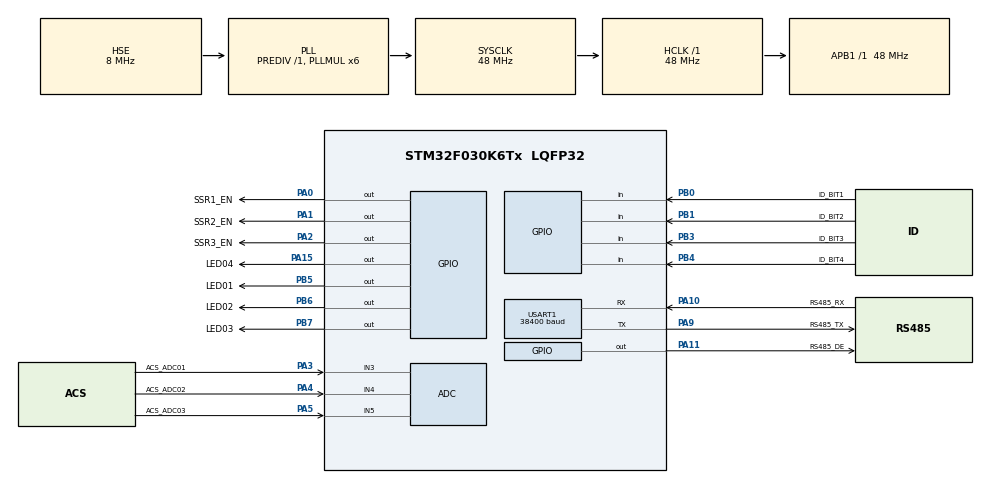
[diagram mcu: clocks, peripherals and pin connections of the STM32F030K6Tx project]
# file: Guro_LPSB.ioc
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Mcu.Family=STM32F0
Mcu.Name=STM32F030K6Tx
Mcu.Package=LQFP32
NVIC.USART1_IRQn=true\:0\:0\:false\:false\:true\:true\:true\:true
PA0.GPIO_Label=SSR1_EN 
PA0.Signal=GPIO_Output
PA1.GPIO_Label=SSR2_EN 
PA1.Signal=GPIO_Output
PA10.GPIO_Label=RS485_RX
PA10.Mode=Asynchronous
PA10.Signal=USART1_RX
PA11.GPIO_Label=RS485_DE
PA11.GPIO_PuPd=GPIO_PULLDOWN
PA11.GPIO_Speed=GPIO_SPEED_FREQ_HIGH
PA11.Signal=GPIO_Output
PA13.Mode=Serial_Wire
PA13.Signal=SYS_SWDIO
PA14.Mode=Serial_Wire
PA14.Signal=SYS_SWCLK
PA15.GPIO_Label=LED04 
PA15.Signal=GPIO_Output
PA2.GPIO_Label=SSR3_EN 
PA2.Signal=GPIO_Output
PA3.GPIO_Label=ACS_ADC01 
PA3.Mode=IN3
PA3.Signal=ADC_IN3
PA4.GPIO_Label=ACS_ADC02 
PA4.Mode=IN4
PA4.Signal=ADC_IN4
PA5.GPIO_Label=ACS_ADC03 
PA5.Mode=IN5
PA5.Signal=ADC_IN5
PA9.GPIO_Label=RS485_TX
PA9.Mode=Asynchronous
PA9.Signal=USART1_TX
PB0.GPIO_Label=ID_BIT1 
PB0.Signal=GPIO_Input
PB1.GPIO_Label=ID_BIT2 
PB1.Signal=GPIO_Input
PB3.GPIO_Label=ID_BIT3 
PB3.Signal=GPIO_Input
PB4.GPIO_Label=ID_BIT4 
PB4.Signal=GPIO_Input
PB5.GPIO_Label=LED01 
PB5.Signal=GPIO_Output
PB6.GPIO_Label=LED02
PB6.Signal=GPIO_Output
PB7.GPIO_Label=LED03 
PB7.Signal=GPIO_Output
PF0-OSC_IN.Mode=HSE-External-Oscillator
PF0-OSC_IN.Signal=RCC_OSC_IN
PF1-OSC_OUT.Mode=HSE-External-Oscillator
PF1-OSC_OUT.Signal=RCC_OSC_OUT
ProjectManager.HeapSize=0x200
ProjectManager.StackSize=0x400
ProjectManager.TargetToolchain=STM32CubeIDE
RCC.AHBFreq_Value=48000000
RCC.APB1Freq_Value=48000000
RCC.APB1TimFreq_Value=48000000
RCC.HCLKFreq_Value=48000000
RCC.PLLMUL=RCC_PLL_MUL6
RCC.PLLSourceVirtual=RCC_PLLSOURCE_HSE
RCC.SYSCLKFreq_VALUE=48000000
RCC.SYSCLKSource=RCC_SYSCLKSOURCE_PLLCLK
USART1.BaudRate=38400
USART1.VirtualMode-Asynchronous=VM_ASYNC
board=custom

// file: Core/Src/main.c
/* USER CODE BEGIN Header */
/**
  ******************************************************************************
  * @file           : main.c
  * @brief          : Main program body
  ******************************************************************************
  * @attention
  *
  * Copyright (c) 2026 STMicroelectronics.
  * All rights reserved.
  *
  * This software is licensed under terms that can be found in the LICENSE file
  * in the root directory of this software component.
  * If no LICENSE file comes with this software, it is provided AS-IS.
  *
  ******************************************************************************
  */
/* USER CODE END Header */
#include "main.h"

/* USER CODE BEGIN Includes */
#include "rs485_drv.h"
#include "lpsb_app.h"
#include "adc_app.h"
#include "modbus_slave.h"
#include "acs712_rms.h"
/* USER CODE END Includes */

ADC_HandleTypeDef hadc;

UART_HandleTypeDef huart1;

/* USER CODE BEGIN PV */
static ACS712_RmsState s_rms;
/* USER CODE END PV */

void SystemClock_Config(void);
static void MX_GPIO_Init(void);
static void MX_USART1_UART_Init(void);
static void MX_ADC_Init(void);

int main(void)
{

  /* MCU Configuration--------------------------------------------------------*/

  /* Reset of all peripherals, Initializes the Flash interface and the Systick. */
  HAL_Init();

  /* Configure the system clock */
  SystemClock_Config();

  /* Initialize all configured peripherals */
  MX_GPIO_Init();
  MX_USART1_UART_Init();
  MX_ADC_Init();
  /* USER CODE BEGIN 2 */
  if (HAL_ADCEx_Calibration_Start(&hadc) != HAL_OK)
  {
    Error_Handler();
  }
  LPSB_App_Init();
  LPSB_LED_Sequence();
  Modbus_Init();

  /* Start RMS measurement on ADC3 channel (ADC_CH5 = PA5 = ACS_ADC03).
   * NOTE: While RMS DMA sampling is active, do not use adc_app polling reads concurrently.
   */
  if (ACS712_RMS_Start(&hadc, ADC_CHANNEL_5) != HAL_OK)
  {
    Error_Handler();
  }
  /* USER CODE END 2 */

  /* Infinite loop */
  while (1)
  {

    /* USER CODE BEGIN 3 */
    Modbus_Poll();
    /* Keep existing ADC update disabled while DMA RMS sampling is active to avoid ADC conflicts. */
    LPSB_Heartbeat();
    /* LED4: RS485 activity pulse + 무통신 시 2s 주기 idle blink */
    RS485_ActivityTick();

    /* ADC DMA poll: update Modbus register map on each new half/full block. */
    if (ACS712_RMS_Poll(&s_rms))
    {
      LPSB_ADC_SetStoredAvg(0, s_rms.last_avg_adc_ch[0]);
      LPSB_ADC_SetStoredAvg(1, s_rms.last_avg_adc_ch[1]);
      LPSB_ADC_SetStoredAvg(2, s_rms.last_avg_adc_ch[2]);
      LPSB_ADC_SetStoredPkpk(0, s_rms.last_pkpk_adc_ch[0]);
      LPSB_ADC_SetStoredPkpk(1, s_rms.last_pkpk_adc_ch[1]);
      LPSB_ADC_SetStoredPkpk(2, s_rms.last_pkpk_adc_ch[2]);
    }
  }
  /* USER CODE END 3 */
}

void SystemClock_Config(void)
{
  RCC_OscInitTypeDef RCC_OscInitStruct = {0};
  RCC_ClkInitTypeDef RCC_ClkInitStruct = {0};
  RCC_PeriphCLKInitTypeDef PeriphClkInit = {0};

  /** Initializes the RCC Oscillators according to the specified parameters
  * in the RCC_OscInitTypeDef structure.
  */
  RCC_OscInitStruct.OscillatorType = RCC_OSCILLATORTYPE_HSI14|RCC_OSCILLATORTYPE_HSE;
  RCC_OscInitStruct.HSEState = RCC_HSE_ON;
  RCC_OscInitStruct.HSI14State = RCC_HSI14_ON;
  RCC_OscInitStruct.HSI14CalibrationValue = 16;
  RCC_OscInitStruct.PLL.PLLState = RCC_PLL_ON;
  RCC_OscInitStruct.PLL.PLLSource = RCC_PLLSOURCE_HSE;
  RCC_OscInitStruct.PLL.PLLMUL = RCC_PLL_MUL6;
  RCC_OscInitStruct.PLL.PREDIV = RCC_PREDIV_DIV1;
  if (HAL_RCC_OscConfig(&RCC_OscInitStruct) != HAL_OK)
  {
    Error_Handler();
  }

  /** Initializes the CPU, AHB and APB buses clocks
  */
  RCC_ClkInitStruct.ClockType = RCC_CLOCKTYPE_HCLK|RCC_CLOCKTYPE_SYSCLK
                              |RCC_CLOCKTYPE_PCLK1;
  RCC_ClkInitStruct.SYSCLKSource = RCC_SYSCLKSOURCE_PLLCLK;
  RCC_ClkInitStruct.AHBCLKDivider = RCC_SYSCLK_DIV1;
  RCC_ClkInitStruct.APB1CLKDivider = RCC_HCLK_DIV1;

  if (HAL_RCC_ClockConfig(&RCC_ClkInitStruct, FLASH_LATENCY_1) != HAL_OK)
  {
    Error_Handler();
  }
  PeriphClkInit.PeriphClockSelection = RCC_PERIPHCLK_USART1;
  PeriphClkInit.Usart1ClockSelection = RCC_USART1CLKSOURCE_PCLK1;
  if (HAL_RCCEx_PeriphCLKConfig(&PeriphClkInit) != HAL_OK)
  {
    Error_Handler();
  }
}

static void MX_ADC_Init(void)
{

  ADC_ChannelConfTypeDef sConfig = {0};

  /** Configure the global features of the ADC (Clock, Resolution, Data Alignment and number of conversion)
  */
  hadc.Instance = ADC1;
  hadc.Init.ClockPrescaler = ADC_CLOCK_ASYNC_DIV1;
  hadc.Init.Resolution = ADC_RESOLUTION_12B;
  hadc.Init.DataAlign = ADC_DATAALIGN_RIGHT;
  hadc.Init.ScanConvMode = ADC_SCAN_DIRECTION_FORWARD;
  hadc.Init.EOCSelection = ADC_EOC_SINGLE_CONV;
  hadc.Init.LowPowerAutoWait = DISABLE;
  hadc.Init.LowPowerAutoPowerOff = DISABLE;
  hadc.Init.ContinuousConvMode = DISABLE;
  hadc.Init.DiscontinuousConvMode = DISABLE;
  hadc.Init.ExternalTrigConv = ADC_SOFTWARE_START;
  hadc.Init.ExternalTrigConvEdge = ADC_EXTERNALTRIGCONVEDGE_NONE;
  hadc.Init.DMAContinuousRequests = DISABLE;
  hadc.Init.Overrun = ADC_OVR_DATA_PRESERVED;
  if (HAL_ADC_Init(&hadc) != HAL_OK)
  {
    Error_Handler();
  }

  /** Configure for the selected ADC regular channel to be converted.
  */
  sConfig.Channel = ADC_CHANNEL_3;
  sConfig.Rank = ADC_RANK_CHANNEL_NUMBER;
  sConfig.SamplingTime = ADC_SAMPLETIME_1CYCLE_5;
  if (HAL_ADC_ConfigChannel(&hadc, &sConfig) != HAL_OK)
  {
    Error_Handler();
  }

  /** Configure for the selected ADC regular channel to be converted.
  */
  sConfig.Channel = ADC_CHANNEL_4;
  if (HAL_ADC_ConfigChannel(&hadc, &sConfig) != HAL_OK)
  {
    Error_Handler();
  }

  /** Configure for the selected ADC regular channel to be converted.
  */
  sConfig.Channel = ADC_CHANNEL_5;
  if (HAL_ADC_ConfigChannel(&hadc, &sConfig) != HAL_OK)
  {
    Error_Handler();
  }

}

static void MX_USART1_UART_Init(void)
{

  huart1.Instance = USART1;
  huart1.Init.BaudRate = 38400;
  huart1.Init.WordLength = UART_WORDLENGTH_8B;
  huart1.Init.StopBits = UART_STOPBITS_1;
  huart1.Init.Parity = UART_PARITY_NONE;
  huart1.Init.Mode = UART_MODE_TX_RX;
  huart1.Init.HwFlowCtl = UART_HWCONTROL_NONE;
  huart1.Init.OverSampling = UART_OVERSAMPLING_16;
  huart1.Init.OneBitSampling = UART_ONE_BIT_SAMPLE_DISABLE;
  huart1.AdvancedInit.AdvFeatureInit = UART_ADVFEATURE_NO_INIT;
  if (HAL_UART_Init(&huart1) != HAL_OK)
  {
    Error_Handler();
  }

}

static void MX_GPIO_Init(void)
{
  GPIO_InitTypeDef GPIO_InitStruct = {0};

  /* GPIO Ports Clock Enable */
  __HAL_RCC_GPIOF_CLK_ENABLE();
  __HAL_RCC_GPIOA_CLK_ENABLE();
  __HAL_RCC_GPIOB_CLK_ENABLE();

  /*Configure GPIO pin Output Level */
  HAL_GPIO_WritePin(GPIOA, SSR1_EN_Pin|SSR2_EN_Pin|SSR3_EN_Pin|RS485_DE_Pin
                          |LED04_Pin, GPIO_PIN_RESET);

  /*Configure GPIO pin Output Level */
  HAL_GPIO_WritePin(GPIOB, LED01_Pin|LED02_Pin|LED03_Pin, GPIO_PIN_RESET);

  /*Configure GPIO pins : SSR1_EN_Pin SSR2_EN_Pin SSR3_EN_Pin LED04_Pin */
  GPIO_InitStruct.Pin = SSR1_EN_Pin|SSR2_EN_Pin|SSR3_EN_Pin|LED04_Pin;
  GPIO_InitStruct.Mode = GPIO_MODE_OUTPUT_PP;
  GPIO_InitStruct.Pull = GPIO_NOPULL;
  GPIO_InitStruct.Speed = GPIO_SPEED_FREQ_LOW;
  HAL_GPIO_Init(GPIOA, &GPIO_InitStruct);

  /*Configure GPIO pins : ID_BIT1_Pin ID_BIT2_Pin ID_BIT3_Pin ID_BIT4_Pin */
  GPIO_InitStruct.Pin = ID_BIT1_Pin|ID_BIT2_Pin|ID_BIT3_Pin|ID_BIT4_Pin;
  GPIO_InitStruct.Mode = GPIO_MODE_INPUT;
  GPIO_InitStruct.Pull = GPIO_NOPULL;
  HAL_GPIO_Init(GPIOB, &GPIO_InitStruct);

  /*Configure GPIO pin : RS485_DE_Pin */
  GPIO_InitStruct.Pin = RS485_DE_Pin;
  GPIO_InitStruct.Mode = GPIO_MODE_OUTPUT_PP;
  GPIO_InitStruct.Pull = GPIO_PULLDOWN;
  GPIO_InitStruct.Speed = GPIO_SPEED_FREQ_HIGH;
  HAL_GPIO_Init(RS485_DE_GPIO_Port, &GPIO_InitStruct);

  /*Configure GPIO pins : LED01_Pin LED02_Pin LED03_Pin */
  GPIO_InitStruct.Pin = LED01_Pin|LED02_Pin|LED03_Pin;
  GPIO_InitStruct.Mode = GPIO_MODE_OUTPUT_PP;
  GPIO_InitStruct.Pull = GPIO_NOPULL;
  GPIO_InitStruct.Speed = GPIO_SPEED_FREQ_LOW;
  HAL_GPIO_Init(GPIOB, &GPIO_InitStruct);

  /* USER CODE BEGIN MX_GPIO_Init_2 */
  /* ADC 입력 핀(ACS712 출력): PA3/PA4/PA5는 반드시 Analog 모드로 설정해야 한다. */
  GPIO_InitStruct.Pin = GPIO_PIN_3 | GPIO_PIN_4 | GPIO_PIN_5;
  GPIO_InitStruct.Mode = GPIO_MODE_ANALOG;
  GPIO_InitStruct.Pull = GPIO_NOPULL;
  HAL_GPIO_Init(GPIOA, &GPIO_InitStruct);

  /* USER CODE END MX_GPIO_Init_2 */
}

/* USER CODE BEGIN 4 */
void HAL_ADC_ConvHalfCpltCallback(ADC_HandleTypeDef *hadc_)
{
  if (hadc_ == &hadc)
  {
    ACS712_RMS_OnDmaBlockReady(0);
  }
}

void HAL_ADC_ConvCpltCallback(ADC_HandleTypeDef *hadc_)
{
  if (hadc_ == &hadc)
  {
    ACS712_RMS_OnDmaBlockReady(1);
  }
}
/* USER CODE END 4 */

void Error_Handler(void)
{
  __disable_irq();
  while (1)
  {
  }
}
